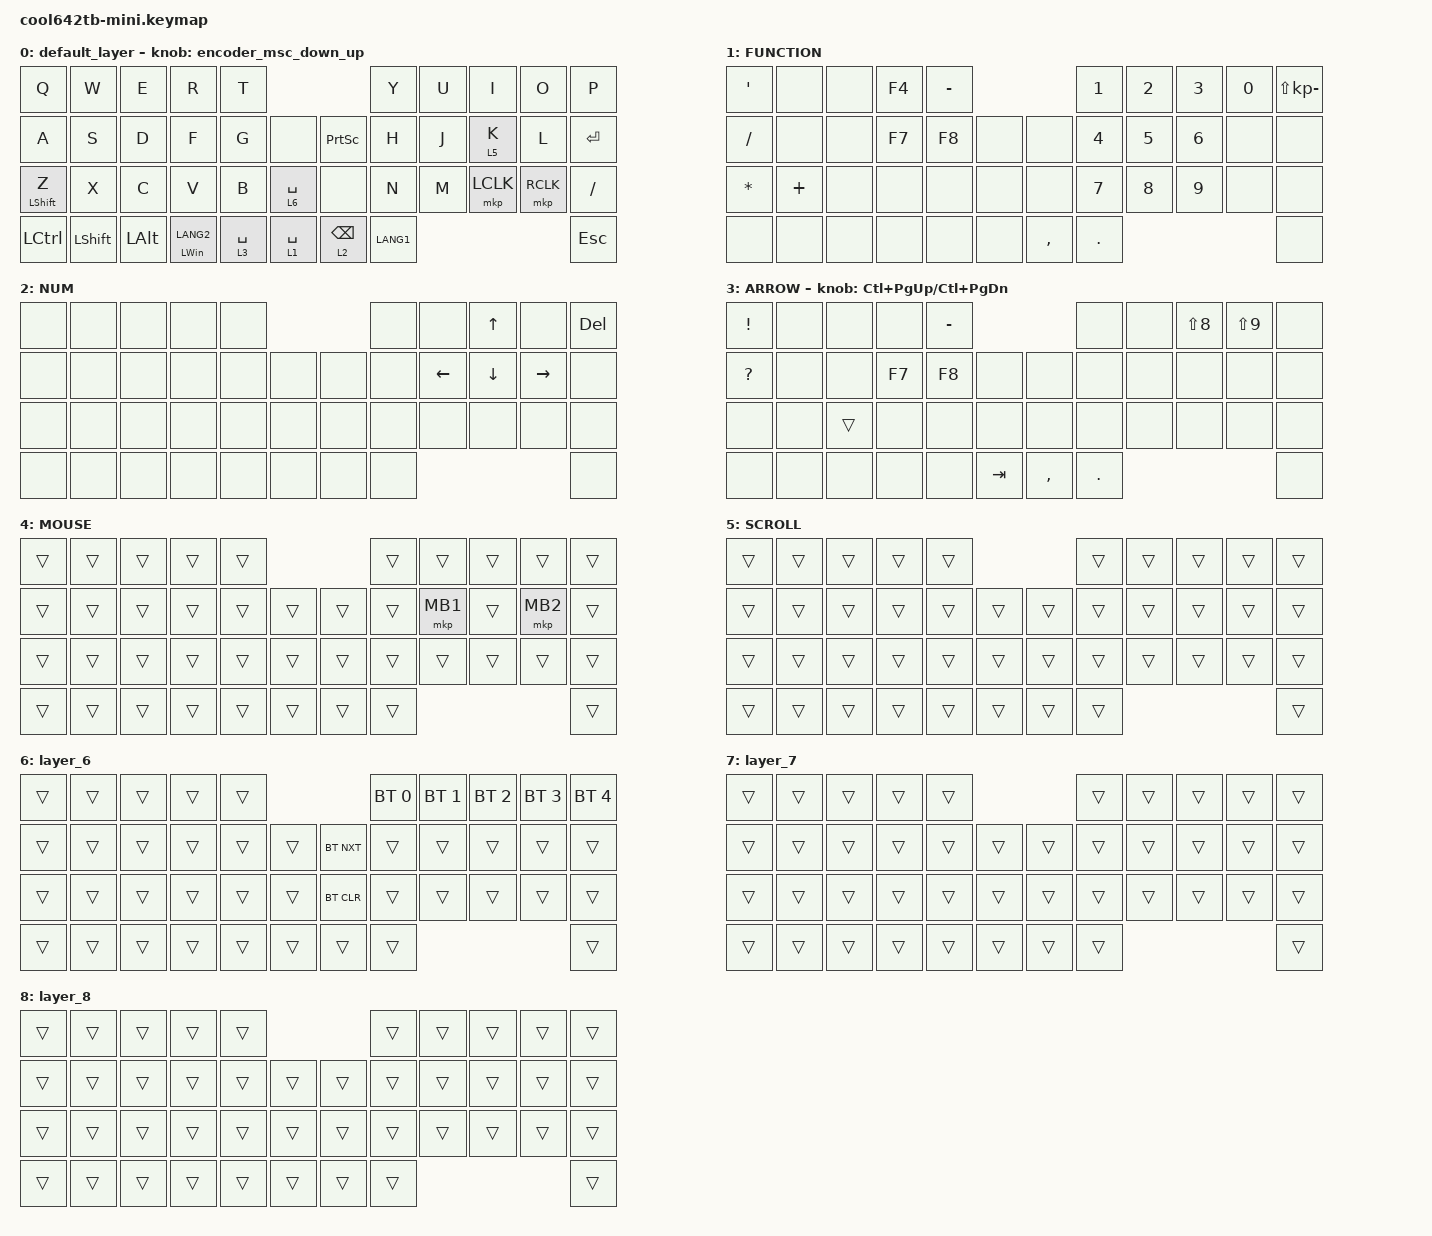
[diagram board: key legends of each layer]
#include <behaviors.dtsi>
#include <dt-bindings/zmk/bt.h>
#include <dt-bindings/zmk/keys.h>
#include <dt-bindings/zmk/pointing.h>

#define MOUSE 4
#define SCROLL 5
#define NUM 6
#define ZMK_POINTING_DEFAULT_SCRL_VAL 80

&mt {
    flavor = "balanced";
    quick-tap-ms = <0>;
};

/ {
    combos { compatible = "zmk,combos"; };

    behaviors {
        encoder_msc_down_up: encoder_msc_down_up {
            compatible = "zmk,behavior-sensor-rotate";
            label = "ENCODER_MSC_DOWN_UP";
            #sensor-binding-cells = <0>;
            bindings = <&msc SCRL_UP>, <&msc SCRL_DOWN>;

            tap-ms = <20>;
        };
    };

    keymap {
        compatible = "zmk,keymap";

        default_layer {
            bindings = <
&kp Q             &kp W           &kp E         &kp R               &kp T                                          &kp Y      &kp U  &kp I      &kp O      &kp P
&kp A             &kp S           &kp D         &kp F               &kp G        &none            &kp PRINTSCREEN  &kp H      &kp J  &lt 5 K    &kp L      &kp ENTER
&mt LEFT_SHIFT Z  &kp X           &kp C         &kp V               &kp B        &lt 6 SPACE      &none            &kp N      &kp M  &mkp LCLK  &mkp RCLK  &kp SLASH
&kp LEFT_CONTROL  &kp LEFT_SHIFT  &kp LEFT_ALT  &mt LEFT_WIN LANG2  &lt 3 SPACE  &lt 1 SPACE      &lt 2 BACKSPACE  &kp LANG1                               &kp ESC
            >;

            sensor-bindings = <&encoder_msc_down_up>;
        };

        FUNCTION {
            bindings = <
&kp SQT       &none     &none  &kp F4  &kp MINUS                        &kp NUMBER_1  &kp NUMBER_2  &kp NUMBER_3  &kp N0  &kp LS(KP_SUBTRACT)
&kp SLASH     &none     &none  &kp F7  &kp F8     &none      &none      &kp NUMBER_4  &kp N5        &kp NUMBER_6  &none   &none
&kp ASTERISK  &kp PLUS  &none  &none   &none      &none      &none      &kp N7        &kp N8        &kp N9        &none   &none
&none         &none     &none  &none   &none      &none      &kp COMMA  &kp PERIOD                                        &none
            >;
        };

        NUM {
            bindings = <
&none  &none  &none  &none  &none                    &none  &none           &kp UP_ARROW    &none      &kp DEL
&none  &none  &none  &none  &none  &none      &none  &none  &kp LEFT_ARROW  &kp DOWN_ARROW  &kp RIGHT  &none
&none  &none  &none  &none  &none  &none      &none  &none  &none           &none           &none      &none
&none  &none  &none  &none  &none  &none      &none  &none                                             &none
            >;
        };

        ARROW {
            bindings = <
&kp EXCLAMATION  &none  &none   &none   &kp MINUS                          &none       &none  &kp LS(N8)  &kp LS(N9)  &none
&kp QUESTION     &none  &none   &kp F7  &kp F8     &none        &none      &none       &none  &none       &none       &none
&none            &none  &trans  &none   &none      &none        &none      &none       &none  &none       &none       &none
&none            &none  &none   &none   &none      &kp TAB      &kp COMMA  &kp PERIOD                                 &none
            >;

            sensor-bindings = <&inc_dec_kp LC(PAGE_UP) LC(PAGE_DOWN)>;
        };

        MOUSE {
            bindings = <
&trans  &trans  &trans  &trans  &trans                      &trans  &trans    &trans  &trans    &trans
&trans  &trans  &trans  &trans  &trans  &trans      &trans  &trans  &mkp MB1  &trans  &mkp MB2  &trans
&trans  &trans  &trans  &trans  &trans  &trans      &trans  &trans  &trans    &trans  &trans    &trans
&trans  &trans  &trans  &trans  &trans  &trans      &trans  &trans                              &trans
            >;
        };

        SCROLL {
            bindings = <
&trans  &trans  &trans  &trans  &trans                      &trans  &trans  &trans  &trans  &trans
&trans  &trans  &trans  &trans  &trans  &trans      &trans  &trans  &trans  &trans  &trans  &trans
&trans  &trans  &trans  &trans  &trans  &trans      &trans  &trans  &trans  &trans  &trans  &trans
&trans  &trans  &trans  &trans  &trans  &trans      &trans  &trans                          &trans
            >;
        };

        layer_6 {
            bindings = <
&trans  &trans  &trans  &trans  &trans                          &bt BT_SEL 0  &bt BT_SEL 1  &bt BT_SEL 2  &bt BT_SEL 3  &bt BT_SEL 4
&trans  &trans  &trans  &trans  &trans  &trans      &bt BT_NXT  &trans        &trans        &trans        &trans        &trans
&trans  &trans  &trans  &trans  &trans  &trans      &bt BT_CLR  &trans        &trans        &trans        &trans        &trans
&trans  &trans  &trans  &trans  &trans  &trans      &trans      &trans                                                  &trans
            >;
        };

        layer_7 {
            bindings = <
&trans  &trans  &trans  &trans  &trans                      &trans  &trans  &trans  &trans  &trans
&trans  &trans  &trans  &trans  &trans  &trans      &trans  &trans  &trans  &trans  &trans  &trans
&trans  &trans  &trans  &trans  &trans  &trans      &trans  &trans  &trans  &trans  &trans  &trans
&trans  &trans  &trans  &trans  &trans  &trans      &trans  &trans                          &trans
            >;
        };

        layer_8 {
            bindings = <
&trans  &trans  &trans  &trans  &trans                      &trans  &trans  &trans  &trans  &trans
&trans  &trans  &trans  &trans  &trans  &trans      &trans  &trans  &trans  &trans  &trans  &trans
&trans  &trans  &trans  &trans  &trans  &trans      &trans  &trans  &trans  &trans  &trans  &trans
&trans  &trans  &trans  &trans  &trans  &trans      &trans  &trans                          &trans
            >;
        };
    };
};
